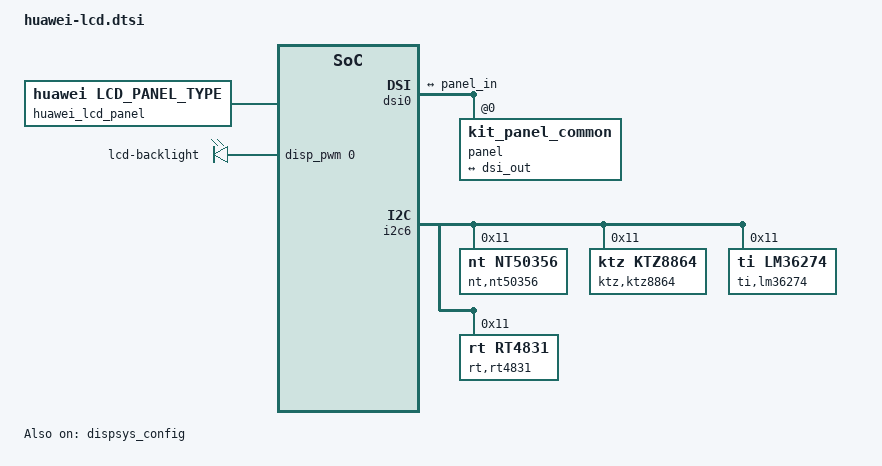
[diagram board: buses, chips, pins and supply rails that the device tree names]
#include "../lcdkit3.0/nto/devkit_lcd_kit.dtsi"

&huawei_lcd_panel {
		compatible = "huawei,lcd_panel_type";
		product_id = <6002>;
		detect_type = <2>; /*0:DETECT_GPIOID  1:DETECT_CHIPID  2:DETECT_LCD_TYPE */
		gpio_id = <131 132>; /*ID0 ID1*/
		support_lcd_type = "LCD_KIT";
		iovcc_ctrl_mode = <1>;
};

&reserved_memory {
};


/* chosen */
&chosen {
	atag,videolfb-fb_base_l = <0x7e605000>;
	atag,videolfb-fb_base_h = <0x0>;
	atag,videolfb-islcmfound = <1>;
	atag,videolfb-islcm_inited = <0>;
	atag,videolfb-fps= <6000>;
	atag,videolfb-vramSize= <0x1be0000>;
	atag,videolfb-lcmname=
		"nt35595_fhd_dsi_cmd_truly_nt50358_drv";
};

&pio {
	mtkfb_pins_lcm_dsi_te: lcm_dsi_te {
		pins_cmd_dat {
			pinmux = <PINMUX_GPIO84__FUNC_DSI_TE>;
		};
	};
};

&dispsys_config {
	pinctrl-names =
		"mode_te_te";
	pinctrl-0 = <&mtkfb_pins_lcm_dsi_te>;
	status = "okay";
};

&dsi0 {
	status = "okay";
	#address-cells = <1>;
	#size-cells = <0>;
	panel@0 {
		compatible = "kit_panel_common";
		reg = <0>;
		port {
			panel_in: endpoint {
				remote-endpoint = <&dsi_out>;
			};
		};
	};
	ports {
		port {
			dsi_out: endpoint {
				remote-endpoint = <&panel_in>;
			};
		};
	};
};

&pwmleds {
	compatible = "mediatek,pwm-leds";

	backlight {
		label = "lcd-backlight";
		pwms = <&disp_pwm 0 39385>;
		led-bits = <13>;
		trans-bits = <11>;
		pwm-names = "lcd-backlight";
	};
};

&i2c6{
	nt,nt50356@11{
		compatible = "nt,nt50356";
		nt50356_support = <1>;
		reg = <0x11>;
		nt50356_i2c_bus_id = <6>;
		nt50356_only_backlight = <0>;
		nt50356_hw_enable = <1>;
		nt50356_hw_en_gpio = <136>;
		nt50356_hw_en_pull_low = <0>;
		bl_on_lk_mdelay = <5>;
		bl_on_kernel_mdelay = <5>;
		bl_level = <2047>;
		nt50356_10000_bl = <1>;
		nt50356_bl_config_1 = <0xF0>;
		nt50356_bl_config_2 = <0x85>;
		nt50356_bl_brightness_lsb = <0x00>;
		nt50356_bl_brightness_msb = <0x00>;
		nt50356_auto_freq_low = <0x15>;
		nt50356_auto_freq_high = <0x22>;
		nt50356_bl_en = <0x1F>;
		nt50356_reg_config_e8 = <0x6F>;
		nt50356_reg_config_e9 = <0xDE>;
		nt50356_reg_config_a9 = <0x29>;
		nt50356_display_bias_config_1 = <0x99>;
		nt50356_display_bias_config_2 = <0x91>;
		nt50356_display_bias_config_3 = <0x00>;
		nt50356_lcm_boost_bias = <0x24>;
		nt50356_vpos_bias = <0x1E>;
		nt50356_vneg_bias = <0x1E>;
		nt50356_bl_option_1 = <0x06>;
		nt50356_bl_option_2 = <0x76>;
		nt50356_bl_max_level = <2047>;
		nt50356_bl_current_config = <0x80>;
		nt50356_check_fault_support = <1>;
		nt50356_extend_rev_support = <1>;
		/* This modification solves the problem of VSP
		 * overshoot in the NT50356 power-off process
		 * support: nt50356_pull_boost_support = 1 */
		nt50356_pull_boost_support = <0>;
		nt50356_pull_down_vpos = <0x0E>;
		nt50356_pull_down_vneg = <0x0E>;
		nt50356_pull_down_boost = <0x14>;
		nt50356_enable_vsp_vsn = <0x99>;
		nt50356_pull_up_vpos = <0x1E>;
		nt50356_pull_up_vneg = <0x1E>;
		nt50356_pull_up_boost = <0x24>;
	};
	ktz,ktz8864@11{
		compatible = "ktz,ktz8864";
		ktz8864_support = <1>;
		reg = <0x11>;
		ktz8864_i2c_bus_id = <6>;
		ktz8864_only_backlight = <0>;
		ktz8864_hw_enable = <1>;
		ktz8864_hw_en_gpio = <136>;
		ktz8864_hw_en_pull_low = <0>;
		bl_on_lk_mdelay = <5>;
		bl_on_kernel_mdelay = <5>;
		bl_level = <2047>;
		ktz8864_10000_bl = <1>;
		ktz8864_bl_config_1 = <0x50>;
		ktz8864_bl_config_2 = <0x85>;
		ktz8864_bl_brightness_lsb = <0x00>;
		ktz8864_bl_brightness_msb = <0x00>;
		ktz8864_auto_freq_low = <0x99>;
		ktz8864_auto_freq_high = <0xAC>;
		ktz8864_bl_en = <0x1f>;
		ktz8864_display_bias_config_1 = <0x99>;
		ktz8864_display_bias_config_2 = <0x91>;
		ktz8864_display_bias_config_3 = <0x00>;
		ktz8864_lcm_boost_bias = <0x24>;
		ktz8864_vpos_bias = <0x1E>;
		ktz8864_vneg_bias = <0x1E>;
		ktz8864_bl_option_1 = <0x86>;
		ktz8864_bl_option_2 = <0x75>;
		ktz8864_bl_max_level = <2047>;
		ktz8864_hidden_reg_support = <0>;
		ktz8864_pull_boost_support = <1>;
		ktz8864_check_fault_support = <1>;
		ktz8864_pull_down_boost = <0x14>;
		ktz8864_enable_vsp_vsn = <0x99>;
		ktz8864_pull_up_boost = <0x24>;
	};
	ti,lm36274@11{
		compatible = "ti,lm36274";
		lm36274_support = <1>;
		reg = <0x11>;
		lm36274_i2c_bus_id = <6>;
		lm36274_only_backlight = <0>;
		lm36274_hw_enable = <1>;
		lm36274_hw_en_gpio = <136>;
		lm36274_hw_en_pull_low = <0>;
		bl_on_lk_mdelay = <5>;
		bl_on_kernel_mdelay = <5>;
		bl_level = <2047>;
		lm36274_10000_bl = <1>;
		lm36274_bl_config_1 = <0x50>;
		lm36274_bl_config_2 = <0x85>;
		lm36274_bl_brightness_lsb = <0x00>;
		lm36274_bl_brightness_msb = <0x00>;
		lm36274_auto_freq_low = <0x99>;
		lm36274_auto_freq_high = <0xAC>;
		lm36274_bl_en = <0x1f>;
		lm36274_display_bias_config_1 = <0x99>;
		lm36274_display_bias_config_2 = <0x91>;
		lm36274_display_bias_config_3 = <0x00>;
		lm36274_lcm_boost_bias = <0x24>;
		lm36274_vpos_bias = <0x1E>;
		lm36274_vneg_bias = <0x1E>;
		lm36274_bl_option_1 = <0x06>;
		lm36274_bl_option_2 = <0x76>;
		lm36274_bl_max_level = <2047>;
		lm36274_check_fault_support = <1>;
		lm36274_hidden_reg_support = <0>;
		lm36274_pull_boost_support = <0>;
		lm36274_pull_down_boost = <0x14>;
		lm36274_enable_vsp_vsn = <0x99>;
		lm36274_pull_up_boost = <0x24>;
		lm36274_extend_rev_support = <1>;
	};
	rt,rt4831@11{
		compatible = "rt,rt4831";
		rt4831_support = <1>;
		reg = <0x11>;
		rt4831_i2c_bus_id = <6>;
		rt4831_only_backlight = <0>;
		rt4831_hw_enable = <1>;
		rt4831_hw_en_gpio = <136>;
		rt4831_hw_en_pull_low = <0>;
		bl_on_lk_mdelay = <5>;
		bl_on_kernel_mdelay = <5>;
		bl_level = <2047>;
		rt4831_10000_bl = <1>;
		rt4831_bl_config_1 = <0x50>;
		rt4831_bl_config_2 = <0x85>;
		rt4831_bl_brightness_lsb = <0x00>;
		rt4831_bl_brightness_msb = <0x00>;
		rt4831_auto_freq_low = <0x15>;
		rt4831_auto_freq_high = <0x22>;
		rt4831_reg_hidden_f0 = <0x69>;
		rt4831_reg_hidden_b1 = <0x6C>;
		rt4831_bl_en = <0x1f>;
		rt4831_display_bias_config_1 = <0x99>;
		rt4831_display_bias_config_2 = <0x91>;
		rt4831_display_bias_config_3 = <0x00>;
		rt4831_lcm_boost_bias = <0x24>;
		rt4831_vpos_bias = <0x1E>;
		rt4831_vneg_bias = <0x1E>;
		rt4831_bl_option_1 = <0x06>;
		rt4831_bl_option_2 = <0x76>;
		rt4831_bl_max_level = <2047>;
		rt4831_check_fault_support = <1>;
		rt4831_hidden_reg_support = <0>;
		rt4831_pull_boost_support = <0>;
		rt4831_pull_down_boost = <0x14>;
		rt4831_enable_vsp_vsn = <0x99>;
		rt4831_pull_up_boost = <0x24>;
	};
};
